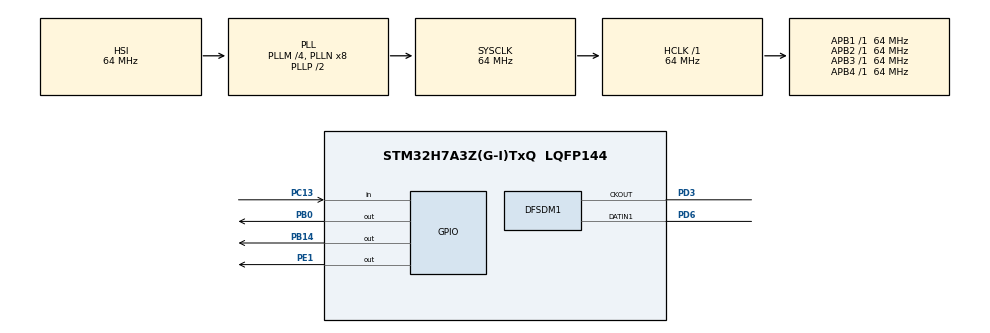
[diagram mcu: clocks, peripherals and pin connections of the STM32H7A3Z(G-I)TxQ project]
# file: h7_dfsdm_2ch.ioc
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CORTEX_M7.default_mode_Activation=1
DFSDM1.Divider=20
DFSDM1.FastMode_reg_FIL0=ENABLE
DFSDM1.FastMode_reg_FIL1=ENABLE
DFSDM1.FilterOrder_CH0=DFSDM_CHANNEL_FASTSINC_ORDER
DFSDM1.Filter_regChannel_FIL0=DFSDM_CHANNEL_0
DFSDM1.Filter_regChannel_FIL1=DFSDM_CHANNEL_1
DFSDM1.Fosr_FIL0=64
DFSDM1.Fosr_FIL1=64
DFSDM1.SincOrder_FIL0=DFSDM_FILTER_SINC3_ORDER
DFSDM1.SincOrder_FIL1=DFSDM_FILTER_SINC3_ORDER
DFSDM1.SpiClock_internal_CH1=DFSDM_CHANNEL_SPI_CLOCK_INTERNAL
DFSDM1.Trigger_reg_FIL1=DFSDM_FILTER_SYNC_TRIGGER
DFSDM1.Type_spi_CH1=DFSDM_CHANNEL_SPI_FALLING
Mcu.Family=STM32H7
Mcu.Name=STM32H7A3Z(G-I)TxQ
Mcu.Package=LQFP144
NUCLEO-H7A3ZI-Q.BUTTON=1
NUCLEO-H7A3ZI-Q.LD1=true
NUCLEO-H7A3ZI-Q.LD2=true
NUCLEO-H7A3ZI-Q.LD3=true
NUCLEO-H7A3ZI-Q.VCP=true
NVIC.EXTI15_10_IRQn=true\:0\:0\:false\:false\:true\:false\:true\:true
NVIC.PriorityGroup=NVIC_PRIORITYGROUP_4
PB0.Signal=GPIO_Output
PB14.Signal=GPIO_Output
PC13.Signal=GPIO_Input
PC14-OSC32_IN.GPIO_Label=OSC32_IN
PC14-OSC32_IN.Signal=RCC_OSC32_IN
PC15-OSC32_OUT.GPIO_Label=OSC32_OUT
PC15-OSC32_OUT.Signal=RCC_OSC32_OUT
PD3.Signal=S_CKOUTDFSDM1
PD6.Signal=S_DATAIN1DFSDM1
PD8.Signal=USART3_TX
PD9.Signal=USART3_RX
PE1.Signal=GPIO_Output
PH0-OSC_IN.GPIO_Label=PH0-MCU
PH0-OSC_IN.Signal=RCC_OSC_IN
PH1-OSC_OUT.GPIO_Label=PH1-MCU
PH1-OSC_OUT.Signal=RCC_OSC_OUT
ProjectManager.HeapSize=0x200
ProjectManager.StackSize=0x400
ProjectManager.TargetToolchain=STM32CubeIDE
RCC.ADCFreq_Value=129000000
RCC.APB1Freq_Value=64000000
RCC.APB2Freq_Value=64000000
RCC.APB3Freq_Value=64000000
RCC.APB4Freq_Value=64000000
RCC.CortexFreq_Value=64000000
RCC.DIVM1=4
RCC.DIVM3=1
RCC.DIVN1=8
RCC.DIVN3=24
RCC.DIVQ1=4
RCC.HCLKFreq_Value=64000000
RCC.HSE_VALUE=8000000
RCC.PLLFRACN=0
RCC.PWR_Regulator_Voltage_Scale=PWR_REGULATOR_VOLTAGE_SCALE0
RCC.SYSCLKFreq_VALUE=64000000
RCC.SYSCLKSource=RCC_SYSCLKSOURCE_PLLCLK
RCC.SupplySource=PWR_DIRECT_SMPS_SUPPLY
RCC.USBCLockSelection=RCC_USBCLKSOURCE_HSI48
RCC.USBFreq_Value=48000000
SH.S_CKOUTDFSDM1.0=DFSDM1_CKOUT,PDM_SPI_input_from_ch1_and_internal_clock
SH.S_CKOUTDFSDM1.1=DFSDM1_CKOUT,PDM_SPI_Input_from_ch01_and_Internal_Clock
SH.S_DATAIN1DFSDM1.0=DFSDM1_DATIN1,PDM_SPI_input_from_ch1_and_internal_clock
SH.S_DATAIN1DFSDM1.1=DFSDM1_DATIN1,PDM_SPI_Input_from_ch01_and_Internal_Clock
VP_MEMORYMAP_VS_MEMORYMAP.Mode=CurAppReg
VP_NUCLEO-H7A3ZI-Q_VS_BSP_COMMON.Mode=COMMON
board=NUCLEO-H7A3ZI-Q

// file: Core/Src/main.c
/* USER CODE BEGIN Header */
/**
  ******************************************************************************
  * @file           : main.c
  * @brief          : Main program body
  ******************************************************************************
  * @attention
  *
  * Copyright (c) 2026 STMicroelectronics.
  * All rights reserved.
  *
  * This software is licensed under terms that can be found in the LICENSE file
  * in the root directory of this software component.
  * If no LICENSE file comes with this software, it is provided AS-IS.
  *
  ******************************************************************************
  */
/* USER CODE END Header */
#include "main.h"

/* USER CODE BEGIN Includes */
#include <stdio.h>
#include <string.h>
/* USER CODE END Includes */

COM_InitTypeDef BspCOMInit;

DFSDM_Filter_HandleTypeDef hdfsdm1_filter0;
DFSDM_Filter_HandleTypeDef hdfsdm1_filter1;
DFSDM_Channel_HandleTypeDef hdfsdm1_channel0;
DFSDM_Channel_HandleTypeDef hdfsdm1_channel1;

/* USER CODE BEGIN PV */
#define N_SAMPLES 5000      /* samples per channel (100 ms at 50 kHz) / 1chあたりのサンプル数 */
#define N_SKIP    250       /* discard the first 5 ms (settling) / 最初の5 msは捨てる */
static int32_t buf_a[N_SAMPLES];   /* mic A = Channel 0 (SEL=GND, rising edge)  / マイクA */
static int32_t buf_b[N_SAMPLES];   /* mic B = Channel 1 (SEL=3.3V, falling edge) / マイクB */
/* USER CODE END PV */

void SystemClock_Config(void);
static void MPU_Config(void);
static void MX_GPIO_Init(void);
static void MX_DFSDM1_Init(void);

/* USER CODE BEGIN 0 */
/**
 * Send a text string to the PC over the ST-LINK virtual COM port.
 * 文字列をST-LINKの仮想COMポート経由でPCへ送る。
 */
static void send_text(const char *s)
{
  HAL_UART_Transmit(&hcom_uart[COM1], (uint8_t *)s, strlen(s), 100);
}

/**
 * Wait for one result from a filter and read it. Returns 0 on success, -1 on timeout.
 * フィルタの結果を1個待って読む。成功で0、時間切れで-1を返す。
 */
static int read_one(DFSDM_Filter_HandleTypeDef *hf, int32_t *out)
{
  uint32_t ch;
  if (HAL_DFSDM_FilterPollForRegConversion(hf, 10) != HAL_OK) return -1;
  *out = HAL_DFSDM_FilterGetRegularValue(hf, &ch);
  return 0;
}

/**
 * Capture two mics at the same time and send "a,b" lines to the PC.
 * Conditions: Filter1 is "Synchronous with DFSDM0", so it starts together with Filter0.
 * Expected: START, 5000 lines of "a,b", END.
 * マイク2個を同時に取り込み、「a,b」の行でPCへ送る。
 * 条件：Filter1は「Filter0と同期」なので、Filter0と同時に動き出す。
 * 期待結果：START、「a,b」が5000行、END。
 */
static void capture_and_send(void)
{
  int32_t dummy;
  char line[40];

  /* 1. Arm Filter1 first (it waits for Filter0), then start Filter0.
        先にFilter1を待機させ、次にFilter0を開始 → 2つが同時に動き出す */
  HAL_DFSDM_FilterRegularStart(&hdfsdm1_filter1);
  HAL_DFSDM_FilterRegularStart(&hdfsdm1_filter0);

  /* 2. Discard the settling part / 落ち着くまでの部分を捨てる */
  for (int i = 0; i < N_SKIP; i++) {
    if (read_one(&hdfsdm1_filter0, &dummy) || read_one(&hdfsdm1_filter1, &dummy)) goto timeout;
  }

  /* 3. Read A and B alternately / AとBを交互に読む */
  for (int i = 0; i < N_SAMPLES; i++) {
    if (read_one(&hdfsdm1_filter0, &buf_a[i]) || read_one(&hdfsdm1_filter1, &buf_b[i])) goto timeout;
  }

  HAL_DFSDM_FilterRegularStop(&hdfsdm1_filter0);
  HAL_DFSDM_FilterRegularStop(&hdfsdm1_filter1);

  /* 4. Send to PC (about 7 s) / PCへ送る（約7秒） */
  send_text("START\r\n");
  for (int i = 0; i < N_SAMPLES; i++) {
    snprintf(line, sizeof(line), "%ld,%ld\r\n", (long)buf_a[i], (long)buf_b[i]);
    send_text(line);
  }
  send_text("END\r\n");
  return;

timeout:
  HAL_DFSDM_FilterRegularStop(&hdfsdm1_filter0);
  HAL_DFSDM_FilterRegularStop(&hdfsdm1_filter1);
  send_text("ERROR timeout\r\n");
}
/* USER CODE END 0 */

int main(void)
{

  /* MPU Configuration--------------------------------------------------------*/
  MPU_Config();

  /* MCU Configuration--------------------------------------------------------*/

  /* Reset of all peripherals, Initializes the Flash interface and the Systick. */
  HAL_Init();

  /* Configure the system clock */
  SystemClock_Config();

  /* Initialize all configured peripherals */
  MX_GPIO_Init();
  MX_DFSDM1_Init();

  /* Initialize leds */
  BSP_LED_Init(LED_GREEN);
  BSP_LED_Init(LED_YELLOW);
  BSP_LED_Init(LED_RED);

  /* Initialize USER push-button, will be used to trigger an interrupt each time it's pressed.*/
  BSP_PB_Init(BUTTON_USER, BUTTON_MODE_EXTI);

  /* Initialize COM1 port (115200, 8 bits (7-bit data + 1 stop bit), no parity */
  BspCOMInit.BaudRate   = 115200;
  BspCOMInit.WordLength = COM_WORDLENGTH_8B;
  BspCOMInit.StopBits   = COM_STOPBITS_1;
  BspCOMInit.Parity     = COM_PARITY_NONE;
  BspCOMInit.HwFlowCtl  = COM_HWCONTROL_NONE;
  if (BSP_COM_Init(COM1, &BspCOMInit) != BSP_ERROR_NONE)
  {
    Error_Handler();
  }

  /* Infinite loop */
  while (1)
  {

    /* USER CODE BEGIN 3 */
	    if (BSP_PB_GetState(BUTTON_USER) == 1) {
	      BSP_LED_On(LED_YELLOW);
	      capture_and_send();
	      BSP_LED_Off(LED_YELLOW);
	      while (BSP_PB_GetState(BUTTON_USER) == 1) { }
	    }
  }
  /* USER CODE END 3 */
}

void SystemClock_Config(void)
{
  RCC_OscInitTypeDef RCC_OscInitStruct = {0};
  RCC_ClkInitTypeDef RCC_ClkInitStruct = {0};

  /*AXI clock gating */
  RCC->CKGAENR = 0xFFFFFFFF;

  /** Supply configuration update enable
  */
  HAL_PWREx_ConfigSupply(PWR_DIRECT_SMPS_SUPPLY);

  /** Configure the main internal regulator output voltage
  */
  __HAL_PWR_VOLTAGESCALING_CONFIG(PWR_REGULATOR_VOLTAGE_SCALE0);

  while(!__HAL_PWR_GET_FLAG(PWR_FLAG_VOSRDY)) {}

  /** Initializes the RCC Oscillators according to the specified parameters
  * in the RCC_OscInitTypeDef structure.
  */
  RCC_OscInitStruct.OscillatorType = RCC_OSCILLATORTYPE_HSI;
  RCC_OscInitStruct.HSIState = RCC_HSI_DIV1;
  RCC_OscInitStruct.HSICalibrationValue = 64;
  RCC_OscInitStruct.PLL.PLLState = RCC_PLL_ON;
  RCC_OscInitStruct.PLL.PLLSource = RCC_PLLSOURCE_HSI;
  RCC_OscInitStruct.PLL.PLLM = 4;
  RCC_OscInitStruct.PLL.PLLN = 8;
  RCC_OscInitStruct.PLL.PLLP = 2;
  RCC_OscInitStruct.PLL.PLLQ = 4;
  RCC_OscInitStruct.PLL.PLLR = 2;
  RCC_OscInitStruct.PLL.PLLRGE = RCC_PLL1VCIRANGE_3;
  RCC_OscInitStruct.PLL.PLLVCOSEL = RCC_PLL1VCOWIDE;
  RCC_OscInitStruct.PLL.PLLFRACN = 0;
  if (HAL_RCC_OscConfig(&RCC_OscInitStruct) != HAL_OK)
  {
    Error_Handler();
  }

  /** Initializes the CPU, AHB and APB buses clocks
  */
  RCC_ClkInitStruct.ClockType = RCC_CLOCKTYPE_HCLK|RCC_CLOCKTYPE_SYSCLK
                              |RCC_CLOCKTYPE_PCLK1|RCC_CLOCKTYPE_PCLK2
                              |RCC_CLOCKTYPE_D3PCLK1|RCC_CLOCKTYPE_D1PCLK1;
  RCC_ClkInitStruct.SYSCLKSource = RCC_SYSCLKSOURCE_PLLCLK;
  RCC_ClkInitStruct.SYSCLKDivider = RCC_SYSCLK_DIV1;
  RCC_ClkInitStruct.AHBCLKDivider = RCC_HCLK_DIV1;
  RCC_ClkInitStruct.APB3CLKDivider = RCC_APB3_DIV1;
  RCC_ClkInitStruct.APB1CLKDivider = RCC_APB1_DIV1;
  RCC_ClkInitStruct.APB2CLKDivider = RCC_APB2_DIV1;
  RCC_ClkInitStruct.APB4CLKDivider = RCC_APB4_DIV1;

  if (HAL_RCC_ClockConfig(&RCC_ClkInitStruct, FLASH_LATENCY_1) != HAL_OK)
  {
    Error_Handler();
  }
}

static void MX_DFSDM1_Init(void)
{

  hdfsdm1_filter0.Instance = DFSDM1_Filter0;
  hdfsdm1_filter0.Init.RegularParam.Trigger = DFSDM_FILTER_SW_TRIGGER;
  hdfsdm1_filter0.Init.RegularParam.FastMode = ENABLE;
  hdfsdm1_filter0.Init.RegularParam.DmaMode = DISABLE;
  hdfsdm1_filter0.Init.FilterParam.SincOrder = DFSDM_FILTER_SINC3_ORDER;
  hdfsdm1_filter0.Init.FilterParam.Oversampling = 64;
  hdfsdm1_filter0.Init.FilterParam.IntOversampling = 1;
  if (HAL_DFSDM_FilterInit(&hdfsdm1_filter0) != HAL_OK)
  {
    Error_Handler();
  }
  hdfsdm1_filter1.Instance = DFSDM1_Filter1;
  hdfsdm1_filter1.Init.RegularParam.Trigger = DFSDM_FILTER_SYNC_TRIGGER;
  hdfsdm1_filter1.Init.RegularParam.FastMode = ENABLE;
  hdfsdm1_filter1.Init.RegularParam.DmaMode = DISABLE;
  hdfsdm1_filter1.Init.FilterParam.SincOrder = DFSDM_FILTER_SINC3_ORDER;
  hdfsdm1_filter1.Init.FilterParam.Oversampling = 64;
  hdfsdm1_filter1.Init.FilterParam.IntOversampling = 1;
  if (HAL_DFSDM_FilterInit(&hdfsdm1_filter1) != HAL_OK)
  {
    Error_Handler();
  }
  hdfsdm1_channel0.Instance = DFSDM1_Channel0;
  hdfsdm1_channel0.Init.OutputClock.Activation = ENABLE;
  hdfsdm1_channel0.Init.OutputClock.Selection = DFSDM_CHANNEL_OUTPUT_CLOCK_SYSTEM;
  hdfsdm1_channel0.Init.OutputClock.Divider = 20;
  hdfsdm1_channel0.Init.Input.Multiplexer = DFSDM_CHANNEL_EXTERNAL_INPUTS;
  hdfsdm1_channel0.Init.Input.DataPacking = DFSDM_CHANNEL_STANDARD_MODE;
  hdfsdm1_channel0.Init.Input.Pins = DFSDM_CHANNEL_FOLLOWING_CHANNEL_PINS;
  hdfsdm1_channel0.Init.SerialInterface.Type = DFSDM_CHANNEL_SPI_RISING;
  hdfsdm1_channel0.Init.SerialInterface.SpiClock = DFSDM_CHANNEL_SPI_CLOCK_INTERNAL;
  hdfsdm1_channel0.Init.Awd.FilterOrder = DFSDM_CHANNEL_FASTSINC_ORDER;
  hdfsdm1_channel0.Init.Awd.Oversampling = 1;
  hdfsdm1_channel0.Init.Offset = 0;
  hdfsdm1_channel0.Init.RightBitShift = 0x00;
  if (HAL_DFSDM_ChannelInit(&hdfsdm1_channel0) != HAL_OK)
  {
    Error_Handler();
  }
  hdfsdm1_channel1.Instance = DFSDM1_Channel1;
  hdfsdm1_channel1.Init.OutputClock.Activation = ENABLE;
  hdfsdm1_channel1.Init.OutputClock.Selection = DFSDM_CHANNEL_OUTPUT_CLOCK_SYSTEM;
  hdfsdm1_channel1.Init.OutputClock.Divider = 20;
  hdfsdm1_channel1.Init.Input.Multiplexer = DFSDM_CHANNEL_EXTERNAL_INPUTS;
  hdfsdm1_channel1.Init.Input.DataPacking = DFSDM_CHANNEL_STANDARD_MODE;
  hdfsdm1_channel1.Init.Input.Pins = DFSDM_CHANNEL_SAME_CHANNEL_PINS;
  hdfsdm1_channel1.Init.SerialInterface.Type = DFSDM_CHANNEL_SPI_FALLING;
  hdfsdm1_channel1.Init.SerialInterface.SpiClock = DFSDM_CHANNEL_SPI_CLOCK_INTERNAL;
  hdfsdm1_channel1.Init.Awd.FilterOrder = DFSDM_CHANNEL_FASTSINC_ORDER;
  hdfsdm1_channel1.Init.Awd.Oversampling = 1;
  hdfsdm1_channel1.Init.Offset = 0;
  hdfsdm1_channel1.Init.RightBitShift = 0x00;
  if (HAL_DFSDM_ChannelInit(&hdfsdm1_channel1) != HAL_OK)
  {
    Error_Handler();
  }
  if (HAL_DFSDM_FilterConfigRegChannel(&hdfsdm1_filter0, DFSDM_CHANNEL_0, DFSDM_CONTINUOUS_CONV_ON) != HAL_OK)
  {
    Error_Handler();
  }
  if (HAL_DFSDM_FilterConfigRegChannel(&hdfsdm1_filter1, DFSDM_CHANNEL_1, DFSDM_CONTINUOUS_CONV_ON) != HAL_OK)
  {
    Error_Handler();
  }

}

static void MX_GPIO_Init(void)
{

  /* GPIO Ports Clock Enable */
  __HAL_RCC_GPIOC_CLK_ENABLE();
  __HAL_RCC_GPIOH_CLK_ENABLE();
  __HAL_RCC_GPIOD_CLK_ENABLE();

}

 /* MPU Configuration */

void MPU_Config(void)
{
  MPU_Region_InitTypeDef MPU_InitStruct = {0};

  /* Disables the MPU */
  HAL_MPU_Disable();

  /** Initializes and configures the Region and the memory to be protected
  */
  MPU_InitStruct.Enable = MPU_REGION_ENABLE;
  MPU_InitStruct.Number = MPU_REGION_NUMBER0;
  MPU_InitStruct.BaseAddress = 0x0;
  MPU_InitStruct.Size = MPU_REGION_SIZE_4GB;
  MPU_InitStruct.SubRegionDisable = 0x87;
  MPU_InitStruct.TypeExtField = MPU_TEX_LEVEL0;
  MPU_InitStruct.AccessPermission = MPU_REGION_NO_ACCESS;
  MPU_InitStruct.DisableExec = MPU_INSTRUCTION_ACCESS_DISABLE;
  MPU_InitStruct.IsShareable = MPU_ACCESS_SHAREABLE;
  MPU_InitStruct.IsCacheable = MPU_ACCESS_NOT_CACHEABLE;
  MPU_InitStruct.IsBufferable = MPU_ACCESS_NOT_BUFFERABLE;

  HAL_MPU_ConfigRegion(&MPU_InitStruct);
  /* Enables the MPU */
  HAL_MPU_Enable(MPU_PRIVILEGED_DEFAULT);

}

void Error_Handler(void)
{
  __disable_irq();
  while (1)
  {
  }
}
